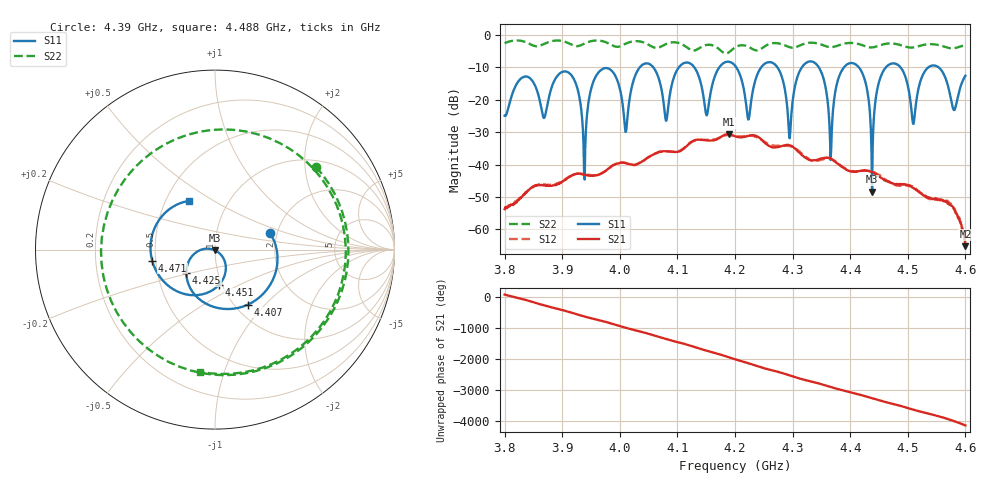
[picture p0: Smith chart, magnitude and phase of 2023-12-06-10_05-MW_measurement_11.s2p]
!Created with skrf (http://scikit-rf.org).
# Hz S RI R 50.0
!freq ReS11 ImS11 ReS21 ImS21 ReS12 ImS12 ReS22 ImS22
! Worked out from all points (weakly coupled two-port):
!   801 points, 3.8 GHz to 4.6 GHz, reference 50 ohm
!   highest |S21| = -30.67 dB at 4.189 GHz (marker M1); lowest = -65.1 dB at 4.6 GHz (marker M2)
!   lowest |S11| = -48.3 dB at 4.438 GHz (marker M3), VSWR 1.01, Z = 50 - j0.383 ohm
!   |S11| at or under -10 dB: start of sweep to 4.035 GHz; 4.415 GHz to 4.462 GHz (47.79 MHz wide, 1.08 % of centre); 4.487 GHz to 4.536 GHz (49.5 MHz wide, 1.1 % of centre) (the widest 3 of 9)
!   |S22| runs from -5.8 to -1.8 dB; largest |S21 - S12| = 0.0033
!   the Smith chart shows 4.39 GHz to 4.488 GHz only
!   S11 on the Smith chart (normalised r, x): 4.39 GHz: 1.82, +0.38; 4.407 GHz: 1.15, -0.81; 4.425 GHz: 0.70, -0.19; 4.451 GHz: 0.96, -0.40; 4.471 GHz: 0.48, -0.07; 4.488 GHz: 0.65, +0.39
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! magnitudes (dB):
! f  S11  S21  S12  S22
! 3.8 GHz  -25.0  -53.7  -53.4  -2.6
! 3.905 GHz  -11.3  -44.7  -44.5  -2.2
! 3.934 GHz  -24.7  -43.0  -42.9  -3.2
! 4.067 GHz  -13.2  -36.2  -36.2  -4.0
! 4.151 GHz  -24.9  -32.5  -32.4  -3.2
! 4.189 GHz  -8.4  -30.7  -30.9  -5.5
! 4.2 GHz  -9.5  -31.3  -31.3  -4.0
! 4.223 GHz  -26.2  -31.2  -31.1  -3.7
! 4.27 GHz  -9.3  -34.8  -34.2  -2.6
! 4.295 GHz  -31.9  -34.1  -34.3  -3.9
! 4.334 GHz  -8.3  -38.8  -38.8  -2.5
! 4.366 GHz  -38.6  -38.2  -38.2  -3.9
! 4.39 GHz  -9.9  -41.2  -41.0  -2.8
! 4.407 GHz  -8.9  -42.3  -42.2  -2.6
! 4.425 GHz  -13.7  -41.9  -41.9  -3.5
! 4.438 GHz  -48.3  -42.3  -42.2  -4.0
! 4.451 GHz  -14.0  -43.8  -43.3  -3.3
! 4.467 GHz  -9.3  -45.4  -45.2  -2.7
! 4.471 GHz  -9.0  -45.6  -45.6  -2.7
! 4.488 GHz  -10.2  -46.2  -46.5  -3.3
! 4.51 GHz  -27.5  -47.3  -47.0  -4.0
! 4.6 GHz  -12.7  -65.1  -64.8  -3.2
